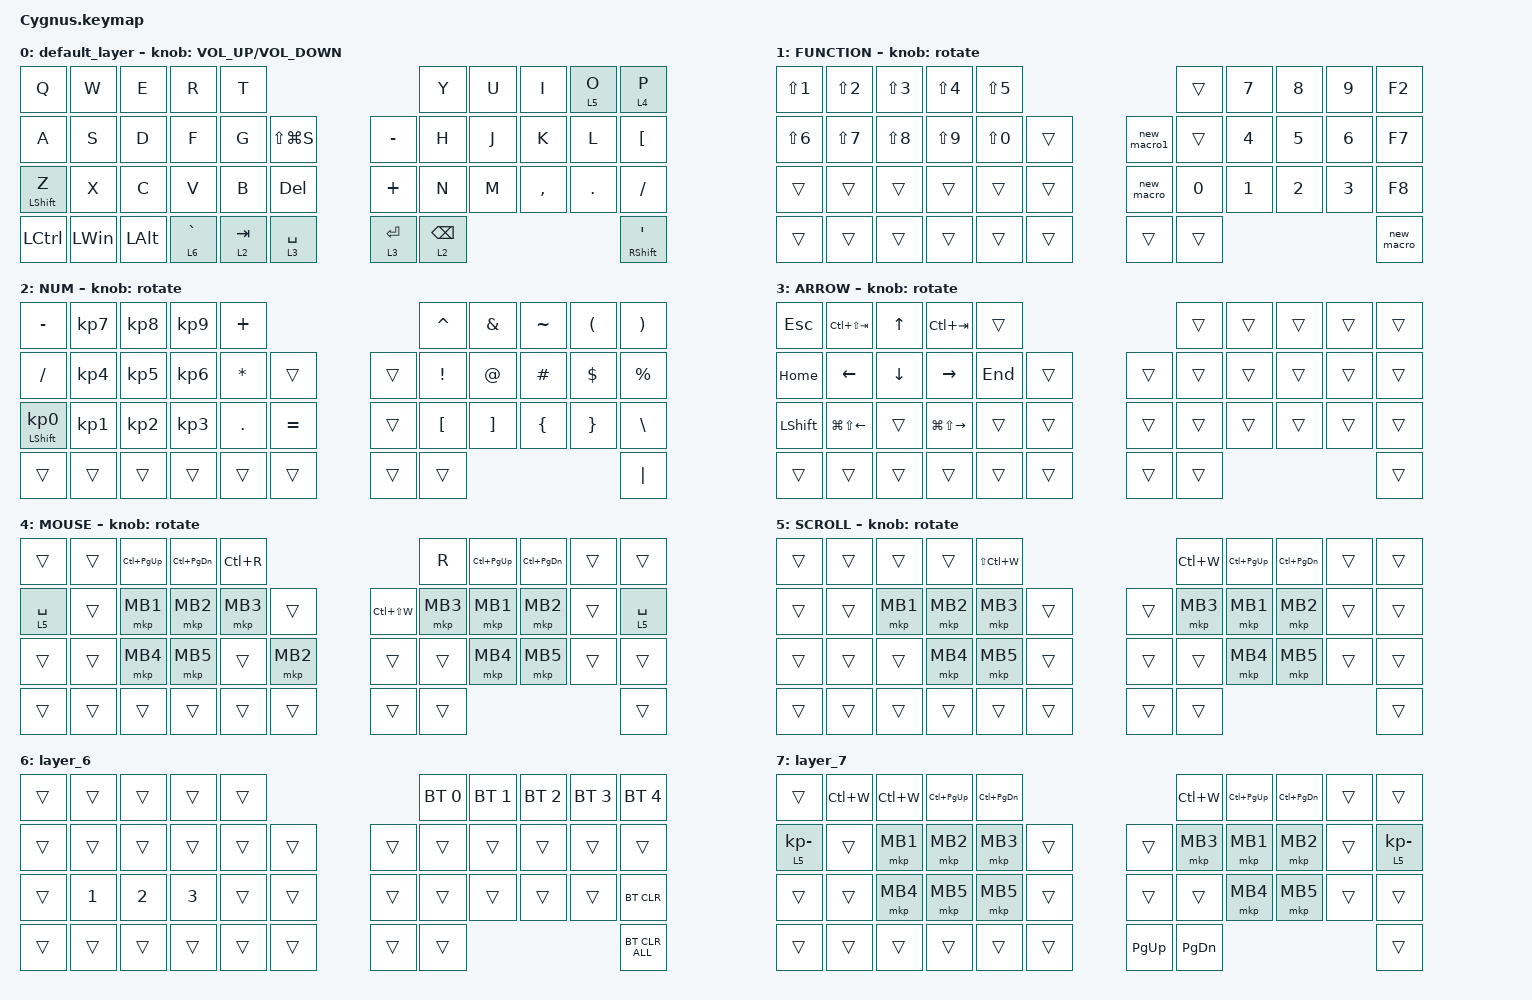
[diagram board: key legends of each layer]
#include <behaviors.dtsi>
#include <dt-bindings/zmk/bt.h>
#include <dt-bindings/zmk/keys.h>
#include <dt-bindings/zmk/pointing.h>

#define ZMK_MOUSE_DEFAULT_SCRL_VAL 25
#define MOUSE 4
#define SCROLL 5
#define NUM 6

&mt {
    flavor = "balanced";
    quick-tap-ms = <0>;
};

/ {
    combos {
        compatible = "zmk,combos";

        double_quotation {
            bindings = <&kp DOUBLE_QUOTES>;
            key-positions = <20 21>;
        };
    };

    macros {
        to_layer_0: to_layer_0 {
            compatible = "zmk,behavior-macro-one-param";
            #binding-cells = <1>;
            bindings = <&to 0 &macro_param_1to1 &kp MACRO_PLACEHOLDER &kp>;
            label = "TO_LAYER_0";
        };

        new_macro: new_macro {
            compatible = "zmk,behavior-macro";
            #binding-cells = <0>;
            bindings =
                <&macro_tap>,
                <&kp NUMBER_3 &kp LS(U) &kp H &kp LS(U) &kp V &kp LS(S) &kp N9 &kp S>;

            label = "NEW_MACRO";
        };

        new_macro1: new_macro1 {
            compatible = "zmk,behavior-macro";
            #binding-cells = <0>;
            bindings =
                <&macro_tap>,
                <&kp M &kp NUMBER_4 &kp NUMBER_1 &kp NUMBER_3 &kp N8 &kp K>;

            label = "NEW_MACRO1";
        };
    };

    behaviors {
        lt_to_layer_0: lt_to_layer_0 {
            compatible = "zmk,behavior-hold-tap";
            label = "LAYER_TAP_TO_0";
            bindings = <&mo>, <&to_layer_0>;

            #binding-cells = <2>;
            tapping-term-ms = <200>;
        };

        rotate: rotate {
            compatible = "zmk,behavior-sensor-rotate";
            label = "ROTATE";
            #sensor-binding-cells = <0>;
            bindings = <&msc SCRL_UP>, <&msc SCRL_DOWN>;

            tap-ms = <20>;
        };
    };

    keymap {
        compatible = "zmk,keymap";

        default_layer {
            bindings = <
&kp Q             &kp W         &kp E         &kp R                   &kp T                                               &kp Y            &kp U  &kp I      &lt 5 O     &lt 4 P
&kp A             &kp S         &kp D         &kp F                   &kp G      &kp LS(LG(S))               &kp MINUS    &kp H            &kp J  &kp K      &kp L       &kp LEFT_BRACKET
&mt LEFT_SHIFT Z  &kp X         &kp C         &kp V                   &kp B      &kp DEL                     &kp PLUS     &kp N            &kp M  &kp COMMA  &kp PERIOD  &kp SLASH
&kp LCTRL         &kp LEFT_WIN  &kp LEFT_ALT  &lt_to_layer_0 6 GRAVE  &lt 2 TAB  &lt_to_layer_0 3 SPACE      &lt 3 ENTER  &lt 2 BACKSPACE                                &mt RIGHT_SHIFT APOS
            >;

            sensor-bindings = <&inc_dec_kp C_VOL_UP C_VOLUME_DOWN>;
        };

        FUNCTION {
            bindings = <
&kp LS(NUMBER_1)  &kp LS(NUMBER_2)  &kp LS(NUMBER_3)  &kp LS(NUMBER_4)  &kp LS(N5)                           &trans  &kp N7        &kp N8        &kp N9        &kp F2
&kp LS(NUMBER_6)  &kp LS(N7)        &kp LS(N8)        &kp LS(N9)        &kp LS(N0)  &trans      &new_macro1  &trans  &kp NUMBER_4  &kp N5        &kp NUMBER_6  &kp F7
&trans            &trans            &trans            &trans            &trans      &trans      &new_macro   &kp N0  &kp NUMBER_1  &kp NUMBER_2  &kp NUMBER_3  &kp F8
&trans            &trans            &trans            &trans            &trans      &trans      &trans       &trans                                            &new_macro
            >;

            sensor-bindings = <&rotate>;
        };

        NUM {
            bindings = <
&kp MINUS                   &kp KP_NUMBER_7  &kp KP_NUMBER_8  &kp KP_NUMBER_9  &kp PLUS                             &kp CARET         &kp AMPERSAND      &kp TILDE       &kp LEFT_PARENTHESIS  &kp RIGHT_PARENTHESIS
&kp SLASH                   &kp KP_NUMBER_4  &kp KP_NUMBER_5  &kp KP_NUMBER_6  &kp ASTERISK  &trans         &trans  &kp EXCLAMATION   &kp AT_SIGN        &kp HASH        &kp DOLLAR            &kp PERCENT
&mt LEFT_SHIFT KP_NUMBER_0  &kp KP_NUMBER_1  &kp KP_NUMBER_2  &kp KP_NUMBER_3  &kp PERIOD    &kp EQUAL      &trans  &kp LEFT_BRACKET  &kp RIGHT_BRACKET  &kp LEFT_BRACE  &kp RIGHT_BRACE       &kp BACKSLASH
&trans                      &trans           &trans           &trans           &trans        &trans         &trans  &trans                                                                     &kp PIPE
            >;

            sensor-bindings = <&rotate>;
        };

        ARROW {
            bindings = <
&kp ESCAPE      &kp LC(LS(TAB))         &kp UP_ARROW    &kp LC(TAB)              &trans                       &trans  &trans  &trans  &trans  &trans
&kp HOME        &kp LEFT_ARROW          &kp DOWN_ARROW  &kp RIGHT_ARROW          &kp END  &trans      &trans  &trans  &trans  &trans  &trans  &trans
&kp LEFT_SHIFT  &kp LG(LS(LEFT_ARROW))  &trans          &kp LG(LS(RIGHT_ARROW))  &trans   &trans      &trans  &trans  &trans  &trans  &trans  &trans
&trans          &trans                  &trans          &trans                   &trans   &trans      &trans  &trans                          &trans
            >;

            sensor-bindings = <&rotate>;
        };

        MOUSE {
            bindings = <
&trans       &trans  &kp LC(PAGE_UP)  &kp LC(PAGE_DOWN)  &kp LC(R)                               &kp R     &kp LC(PAGE_UP)  &kp LC(PAGE_DOWN)  &trans  &trans
&lt 5 SPACE  &trans  &mkp MB1         &mkp MB2           &mkp MB3   &trans        &kp LC(LS(W))  &mkp MB3  &mkp MB1         &mkp MB2           &trans  &lt 5 SPACE
&trans       &trans  &mkp MB4         &mkp MB5           &trans     &mkp MB2      &trans         &trans    &mkp MB4         &mkp MB5           &trans  &trans
&trans       &trans  &trans           &trans             &trans     &trans        &trans         &trans                                                &trans
            >;

            sensor-bindings = <&rotate>;
        };

        SCROLL {
            bindings = <
&trans  &trans  &trans    &trans    &kp LS(LC(W))                      &kp LC(W)  &kp LC(PAGE_UP)  &kp LC(PAGE_DOWN)  &trans  &trans
&trans  &trans  &mkp MB1  &mkp MB2  &mkp MB3       &trans      &trans  &mkp MB3   &mkp MB1         &mkp MB2           &trans  &trans
&trans  &trans  &trans    &mkp MB4  &mkp MB5       &trans      &trans  &trans     &mkp MB4         &mkp MB5           &trans  &trans
&trans  &trans  &trans    &trans    &trans         &trans      &trans  &trans                                                 &trans
            >;

            sensor-bindings = <&rotate>;
        };

        layer_6 {
            bindings = <
&trans  &trans        &trans        &trans        &trans                      &bt BT_SEL 0  &bt BT_SEL 1  &bt BT_SEL 2  &bt BT_SEL 3  &bt BT_SEL 4
&trans  &trans        &trans        &trans        &trans  &trans      &trans  &trans        &trans        &trans        &trans        &trans
&trans  &kp NUMBER_1  &kp NUMBER_2  &kp NUMBER_3  &trans  &trans      &trans  &trans        &trans        &trans        &trans        &bt BT_CLR
&trans  &trans        &trans        &trans        &trans  &trans      &trans  &trans                                                  &bt BT_CLR_ALL
            >;
        };

        layer_7 {
            bindings = <
&trans                     &kp LC(W)  &kp LC(W)  &kp LC(PAGE_UP)  &kp LC(PAGE_DOWN)                           &kp LC(W)      &kp LC(PAGE_UP)  &kp LC(PAGE_DOWN)  &trans  &trans
&lt_to_layer_0 5 KP_MINUS  &trans     &mkp MB1   &mkp MB2         &mkp MB3           &trans      &trans       &mkp MB3       &mkp MB1         &mkp MB2           &trans  &lt_to_layer_0 5 KP_MINUS
&trans                     &trans     &mkp MB4   &mkp MB5         &mkp MB5           &trans      &trans       &trans         &mkp MB4         &mkp MB5           &trans  &trans
&trans                     &trans     &trans     &trans           &trans             &trans      &kp PAGE_UP  &kp PAGE_DOWN                                              &trans
            >;
        };
    };
};
